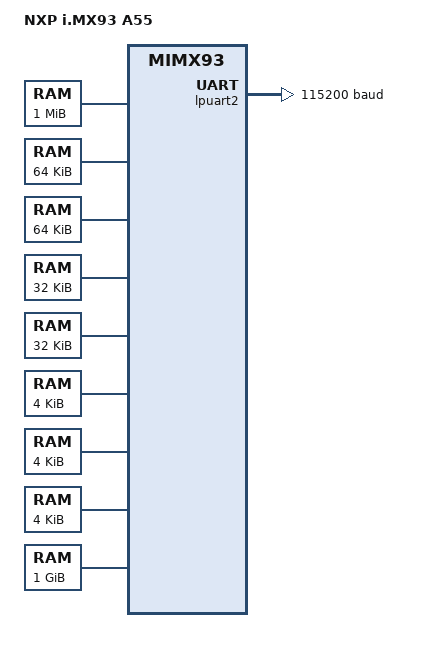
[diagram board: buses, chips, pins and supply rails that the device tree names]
/*
 * Copyright 2023 NXP
 *
 * SPDX-License-Identifier: Apache-2.0
 */

/dts-v1/;

#include <nxp/nxp_mimx93_a55.dtsi>
#include "mimx93_evk-pinctrl.dtsi"

/ {
	model = "NXP i.MX93 A55";
	compatible = "fsl,mimx93";

	chosen {
		zephyr,console = &lpuart2;
		zephyr,shell-uart = &lpuart2;
		zephyr,sram = &sram0;
	};

	cpus {
		cpu@0 {
			status = "disabled";
		};
	};

	/* Inmate memory, reserved through "mem=1248MB" boot argument,
	 * starts at 0xce000000.
	 */
	sram0: memory@ce000000 {
		reg = <0xce000000 DT_SIZE_M(1)>;
	};

	/* TODO: all of the nodes below are needed by SOF and should
	 * be removed once all drivers used by SOF have been moved
	 * to Zephyr.
	 *
	 * They are added in the DTS for the sake of not using hardcoded
	 * values in mmu_regions.c
	 */
	mu2_a: memory@42430000 {
		reg = <0x42430000 DT_SIZE_K(64)>;
	};

	sai3: memory@42660000 {
		reg = <0x42660000 DT_SIZE_K(64)>;
	};

	edma2_ch0: memory@42010000 {
		reg = <0x42010000 DT_SIZE_K(32)>;
	};

	edma2_ch1: memory@42018000 {
		reg = <0x42018000 DT_SIZE_K(32)>;
	};

	outbox: memory@ce100000 {
		reg = <0xce100000 DT_SIZE_K(4)>;
	};

	inbox: memory@ce101000 {
		reg = <0xce101000 DT_SIZE_K(4)>;
	};

	stream: memory@ce102000 {
		reg = <0xce102000 DT_SIZE_K(4)>;
	};

	/* TODO: this is extremely bad and it's needed here because of
	 * the fact that the DMA buffer shared by host and FW is situated
	 * in this region. For now, it's easier to create a mapping for the
	 * whole region but in the future a mapping should only be created
	 * for the physical address of the buffer sent to the FW through an
	 * IPC.
	 */
	host_ram: memory@80000000 {
		reg = <0x80000000 DT_SIZE_M(1024)>;
	};
};

&lpuart2 {
	status = "okay";
	current-speed = <115200>;
	/* clocks = <&ccm IMX_CCM_UART4_CLK 0x6c 24>; */
	pinctrl-0 = <&uart2_default>;
	pinctrl-names = "default";
};
